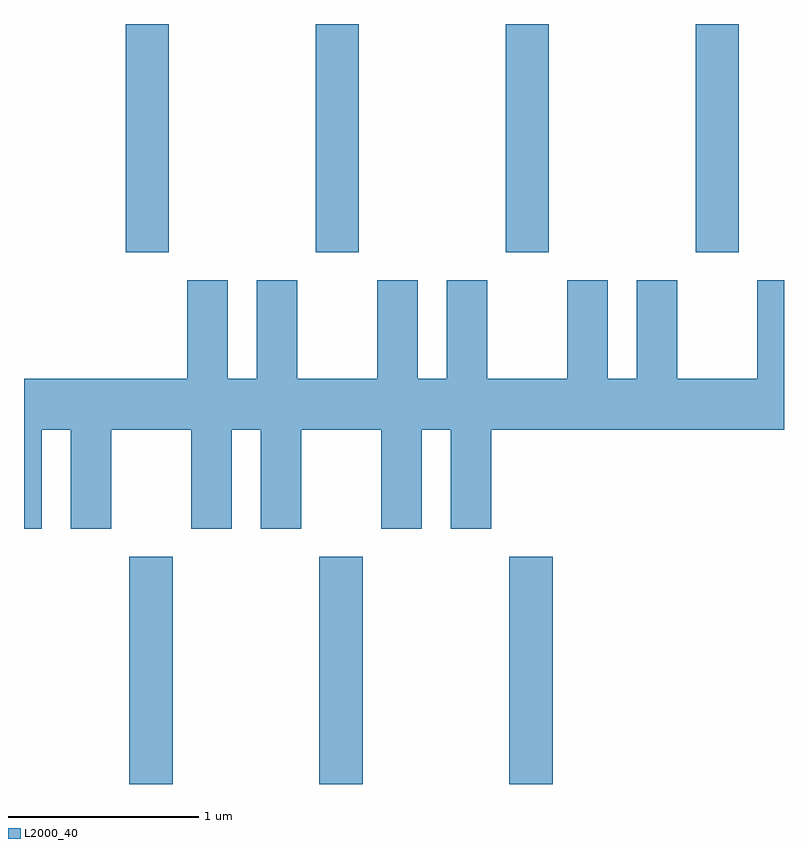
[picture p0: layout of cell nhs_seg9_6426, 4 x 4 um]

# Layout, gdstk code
import gdstk
lib = gdstk.Library(unit=1e-6, precision=1e-09)
def R(c, l, rs):  # rectangles x0, y0, x1, y1
    for r in rs: c.add(gdstk.rectangle(r[:2], r[2:], *l))
def A(c, l, x, y, w, h, nx, ny, dx, dy):  # array of equal rectangles
    R(c, l, [(x+i*dx, y+j*dy, x+i*dx+w, y+j*dy+h) for i in range(nx) for j in range(ny)])
def P(c, l, *ps):  # polygons
    for p in ps: c.add(gdstk.Polygon(p, *l))
L2000_40 = (2000, 40)

nhs_seg9_6426 = lib.new_cell('nhs_seg9_6426')
A(nhs_seg9_6426, L2000_40, 376.166, 1954.432, 0.228, 1.197, 3, 1, 1, 0)
A(nhs_seg9_6426, L2000_40, 376.146, 1957.231, 0.228, 1.201, 4, 1, 1, 0)
P(nhs_seg9_6426, L2000_40, [(375.704,1956.296),(375.856,1956.296),(375.856,1955.776),(376.069,1955.776),(376.069,1956.296),(376.491,1956.296),(376.491,1955.776),(376.704,1955.776),(376.704,1956.296),(376.856,1956.296),(376.856,1955.776),(377.069,1955.776),(377.069,1956.296),(377.491,1956.296),(377.491,1955.776),(377.704,1955.776),(377.704,1956.296),(377.856,1956.296),(377.856,1955.776),(378.069,1955.776),(378.069,1956.296),(379.611,1956.296),(379.611,1957.084),(379.471,1957.084),(379.471,1956.564),(379.049,1956.564),(379.049,1957.084),(378.836,1957.084),(378.836,1956.564),(378.684,1956.564),(378.684,1957.084),(378.471,1957.084),(378.471,1956.564),(378.049,1956.564),(378.049,1957.084),(377.836,1957.084),(377.836,1956.564),(377.684,1956.564),(377.684,1957.084),(377.471,1957.084),(377.471,1956.564),(377.049,1956.564),(377.049,1957.084),(376.836,1957.084),(376.836,1956.564),(376.684,1956.564),(376.684,1957.084),(376.471,1957.084),(376.471,1956.564),(375.611,1956.564),(375.611,1955.776),(375.704,1955.776)])

lib.write_gds('nhs_seg9_6426.gds')
